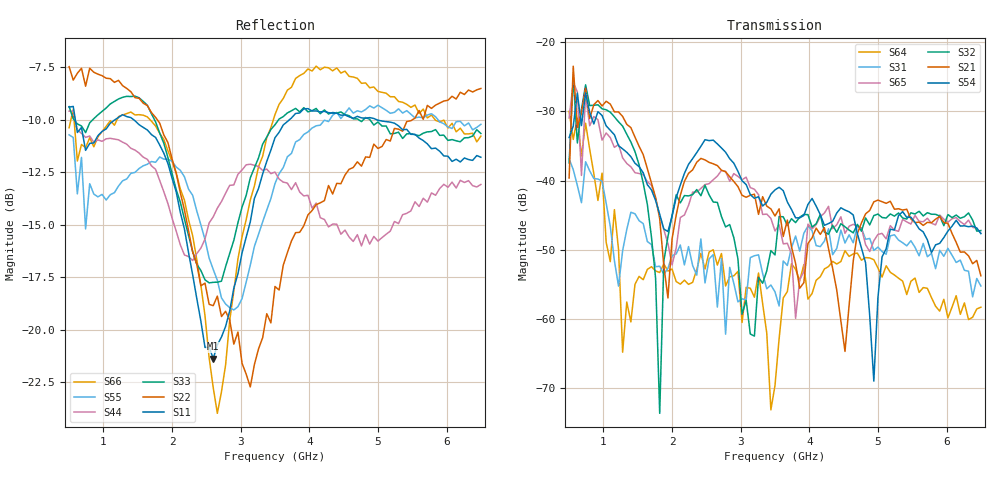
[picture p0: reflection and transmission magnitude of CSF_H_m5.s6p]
!Keysight Technologies,M9804A,MY58100912,A.14.10.03
!Date: Thursday, April 27, 2023 10:28:33
!Correction: S11(C  6-Port  )
!S12(C  6-Port  )
!S13(C  6-Port  )
!S14(C  6-Port  )
!S15(C  6-Port  )
!S16(C  6-Port  )
!S21(C  6-Port  )
!S22(C  6-Port  )
!S23(C  6-Port  )
!S24(C  6-Port  )
!S25(C  6-Port  )
!S26(C  6-Port  )
!S31(C  6-Port  )
!S32(C  6-Port  )
!S33(C  6-Port  )
!S34(C  6-Port  )
!S35(C  6-Port  )
!S36(C  6-Port  )
!S41(C  6-Port  )
!S42(C  6-Port  )
!S43(C  6-Port  )
!S44(C  6-Port  )
!S45(C  6-Port  )
!S46(C  6-Port  )
!S51(C  6-Port  )
!S52(C  6-Port  )
!S53(C  6-Port  )
!S54(C  6-Port  )
!S55(C  6-Port  )
!S56(C  6-Port  )
!S61(C  6-Port  )
!S62(C  6-Port  )
!S63(C  6-Port  )
!S64(C  6-Port  )
!S65(C  6-Port  )
!S66(C  6-Port  )
!S6P File: Measurement: :
# Hz S  RI  R 50
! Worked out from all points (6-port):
!   101 points, 500 MHz to 6.5 GHz, reference 50 ohm
!   strongest paths, dB at 500 MHz, 2 GHz, 3.5 GHz, 5 GHz, 6.5 GHz:
!     S54: -33.8, -45.1, -41.3, -56.9, -47.6
!     S21: -39.6, -48.4, -45.1, -42.8, -53.7
!     S32: -37.4, -45.0, -50.7, -44.8, -47.2
!     S65: -30.9, -52.2, -47.3, -47.8, -47.6
!     S31: -36.8, -50.8, -56.0, -49.6, -55.2
!     S64: -30.0, -52.8, -69.6, -52.6, -58.3
!   lowest |S11| = -21.4 dB at 2.6 GHz (marker M1), VSWR 1.19, Z = 42.4 + j2.17 ohm
!   |S11| at or under -10 dB: 590.2 MHz to 1.172 GHz (581.5 MHz wide, 66 % of centre); 1.438 GHz to 3.713 GHz (2.276 GHz wide, 88.4 % of centre); 4.977 GHz to end of sweep
